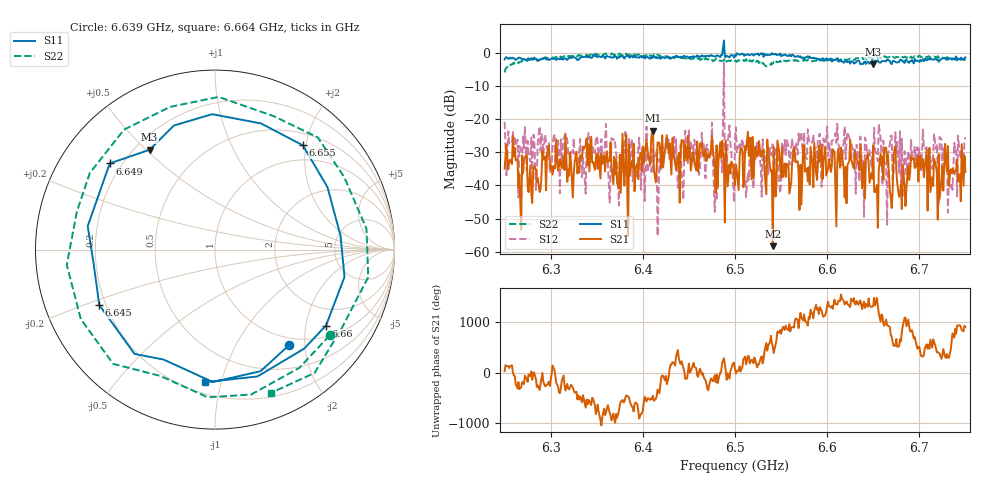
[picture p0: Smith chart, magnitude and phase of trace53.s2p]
# Hz S RI R 50
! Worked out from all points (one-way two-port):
!   401 points, 6.25 GHz to 6.75 GHz, reference 50 ohm
!   highest |S21| = -23.50 dB at 6.411 GHz (marker M1); lowest = -58.3 dB at 6.541 GHz (marker M2)
!   lowest |S11| = -3.5 dB at 6.65 GHz (marker M3), VSWR 4.97, Z = 12.8 + j25.6 ohm
!   |S11| at or under -10 dB: nowhere
!   |S22| runs from -6.0 to -0.2 dB; largest |S21 - S12| = 0.71
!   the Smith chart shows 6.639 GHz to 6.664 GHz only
!   S11 on the Smith chart (normalised r, x): 6.639 GHz: 0.87, -1.70; 6.645 GHz: 0.17, -0.22; 6.649 GHz: 0.15, +0.35; 6.655 GHz: 0.71, +1.94; 6.66 GHz: 1.35, -2.61; 6.664 GHz: 0.27, -0.89
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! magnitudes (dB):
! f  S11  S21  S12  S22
! 6.25 GHz  -2.1  -34.9  -20.9  -6.0
! 6.278 GHz  -2.2  -33.9  -32.9  -1.9
! 6.334 GHz  -1.3  -31.9  -37.5  -0.9
! 6.411 GHz  -1.5  -23.5  -36.5  -1.1
! 6.418 GHz  -1.3  -27.2  -32.0  -0.9
! 6.425 GHz  -1.4  -28.8  -26.0  -1.1
! 6.479 GHz  -1.2  -42.3  -39.7  -1.9
! 6.5 GHz  -0.7  -40.0  -25.9  -2.6
! 6.514 GHz  -0.4  -23.9  -36.2  -2.7
! 6.541 GHz  -0.4  -58.3  -27.6  -3.4
! 6.584 GHz  -1.7  -33.8  -27.2  -2.6
! 6.639 GHz  -3.4  -36.1  -32.7  -2.0
! 6.645 GHz  -2.9  -33.3  -29.1  -1.4
! 6.649 GHz  -2.4  -38.0  -30.0  -2.0
! 6.65 GHz  -3.5  -28.0  -31.0  -1.7
! 6.655 GHz  -2.4  -52.8  -32.8  -1.8
! 6.66 GHz  -2.5  -31.3  -39.9  -1.2
! 6.664 GHz  -2.6  -28.6  -33.6  -1.3
! 6.668 GHz  -2.5  -41.7  -27.6  -1.3
! 6.725 GHz  -1.7  -34.2  -36.0  -1.5
! 6.734 GHz  -1.7  -35.2  -40.6  -1.5
! 6.75 GHz  -1.4  -36.0  -25.5  -2.1
